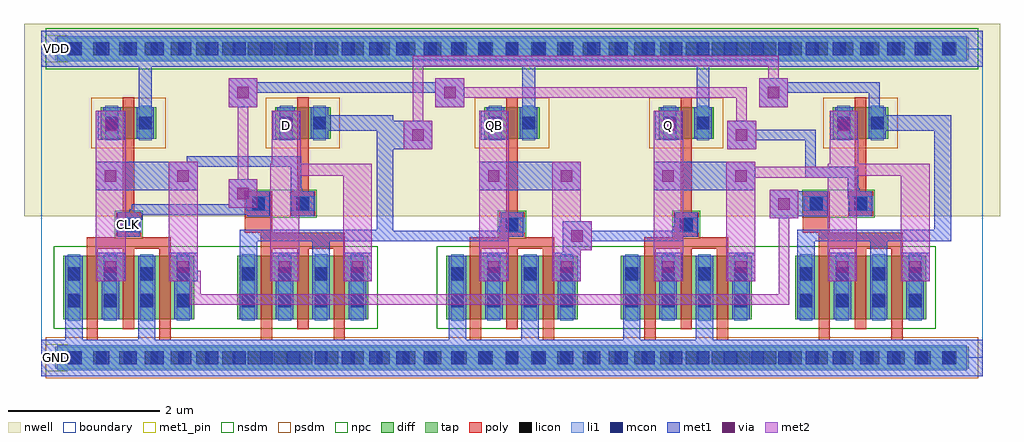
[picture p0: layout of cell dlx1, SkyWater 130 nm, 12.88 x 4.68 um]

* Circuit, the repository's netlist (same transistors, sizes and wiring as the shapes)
** sch_path: /foss/designs/dlx1.sch
.subckt dlx1 D VDD GND CLK QB Q
*.PININFO D:I VDD:B GND:B CLK:I QB:O Q:O
XM1 D CLKB net1 VDD sky130_fd_pr__pfet_01v8 L=0.15 W=0.42 nf=1
XM2 D CLK net1 GND sky130_fd_pr__nfet_01v8 L=0.15 W=2.52 nf=3
XM3 CLKB CLK VDD VDD sky130_fd_pr__pfet_01v8 L=0.15 W=0.42 nf=1
XM4 CLKB CLK GND GND sky130_fd_pr__nfet_01v8 L=0.15 W=2.52 nf=3
XM9 QB net1 VDD VDD sky130_fd_pr__pfet_01v8 L=0.15 W=0.42 nf=1
XM8 QB net1 GND GND sky130_fd_pr__nfet_01v8 L=0.15 W=2.52 nf=3
XM5 Q QB VDD VDD sky130_fd_pr__pfet_01v8 L=0.15 W=0.42 nf=1
XM6 Q QB GND GND sky130_fd_pr__nfet_01v8 L=0.15 W=2.52 nf=3
XM7 net1 CLK Q VDD sky130_fd_pr__pfet_01v8 L=0.15 W=0.42 nf=1
XM10 net1 CLKB Q GND sky130_fd_pr__nfet_01v8 L=0.15 W=2.52 nf=3
.ends

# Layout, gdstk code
import gdstk
lib = gdstk.Library(unit=1e-6, precision=1e-09)
def R(c, l, rs):  # rectangles x0, y0, x1, y1
    for r in rs: c.add(gdstk.rectangle(r[:2], r[2:], *l))
def A(c, l, x, y, w, h, nx, ny, dx, dy):  # array of equal rectangles
    R(c, l, [(x+i*dx, y+j*dy, x+i*dx+w, y+j*dy+h) for i in range(nx) for j in range(ny)])
nwell = (64, 20)
diff = (65, 20)
tap = (65, 44)
poly = (66, 20)
licon = (66, 44)
li1 = (67, 20)
mcon = (67, 44)
met1_pin = (68, 16)
met1 = (68, 20)
via = (68, 44)
met2 = (69, 20)
nsdm = (93, 44)
psdm = (94, 20)
npc = (95, 20)
boundary = (235, 4)

sky130_fd_pr__nfet_01v8_ = lib.new_cell('sky130_fd_pr__nfet_01v8_RPKUUV')
R(sky130_fd_pr__nfet_01v8_, diff, [(-0.865,-0.42,0.865,0.42)])
R(sky130_fd_pr__nfet_01v8_, poly, [(-0.555,-0.695,-0.405,0.55), (0.405,-0.695,0.555,0.55), (-0.075,-0.55,0.075,0.695)])
A(sky130_fd_pr__nfet_01v8_, licon, -0.805, -0.255, 0.17, 0.17, 4, 2, 0.48, 0.34)
A(sky130_fd_pr__nfet_01v8_, li1, -0.805, -0.44, 0.17, 0.88, 4, 1, 0.48, 0)
A(sky130_fd_pr__nfet_01v8_, mcon, -0.805, -0.265, 0.17, 0.17, 4, 2, 0.48, 0.36)
A(sky130_fd_pr__nfet_01v8_, met1, -0.835, -0.42, 0.23, 0.84, 4, 1, 0.48, 0)
R(sky130_fd_pr__nfet_01v8_, nsdm, [(-0.99,-0.545,0.99,0.545)])
sky130_fd_pr__nfet_01v8_.add(gdstk.Label('D0', (-0.72,0), layer=67, texttype=5))
sky130_fd_pr__nfet_01v8_.add(gdstk.Label('S1', (-0.24,0), layer=67, texttype=5))
sky130_fd_pr__nfet_01v8_.add(gdstk.Label('D2', (0.24,0), layer=67, texttype=5))
sky130_fd_pr__nfet_01v8_.add(gdstk.Label('S2', (0.72,0), layer=67, texttype=5))

sky130_fd_pr__pfet_01v8_ = lib.new_cell('sky130_fd_pr__pfet_01v8_YNU6YZ')
R(sky130_fd_pr__pfet_01v8_, nwell, [(-0.545,-0.52,0.545,0.52)])
R(sky130_fd_pr__pfet_01v8_, diff, [(-0.365,-0.21,0.365,0.21)])
R(sky130_fd_pr__pfet_01v8_, poly, [(-0.075,-0.34,0.075,0.34)])
R(sky130_fd_pr__pfet_01v8_, licon, [(-0.305,-0.085,-0.135,0.085), (0.135,-0.085,0.305,0.085)])
R(sky130_fd_pr__pfet_01v8_, li1, [(-0.305,-0.23,-0.135,0.23), (0.135,-0.23,0.305,0.23)])
R(sky130_fd_pr__pfet_01v8_, mcon, [(-0.305,-0.085,-0.135,0.085), (0.135,-0.085,0.305,0.085)])
R(sky130_fd_pr__pfet_01v8_, met1, [(-0.335,-0.21,-0.105,0.21), (0.105,-0.21,0.335,0.21)])
R(sky130_fd_pr__pfet_01v8_, psdm, [(-0.49,-0.335,0.49,0.335)])
sky130_fd_pr__pfet_01v8_.add(gdstk.Label('D', (-0.22,0), layer=67, texttype=5))
sky130_fd_pr__pfet_01v8_.add(gdstk.Label('S', (0.22,0), layer=67, texttype=5))

dlx1 = lib.new_cell('dlx1')
R(dlx1, nwell, [(-0.23,1.87,12.65,4.41)])
R(dlx1, tap, [(0.18,-0.145,12.24,0.145), (0.18,3.935,12.24,4.225)])
R(dlx1, poly, [(0.595,1.44,1.705,1.59), (2.895,1.44,4.005,1.65), (5.655,1.44,6.765,1.59), (7.955,1.44,9.065,1.59), (10.255,1.44,11.365,1.65), (0.985,1.59,1.315,1.92), (6.045,1.59,6.375,1.92), (8.345,1.59,8.675,1.92), (2.685,1.65,3.045,2.2), (10.045,1.65,10.405,2.2), (3.285,1.87,3.615,2.2), (10.645,1.87,10.975,2.2), (1.075,1.92,1.225,2.95), (6.135,1.92,6.285,2.95), (8.435,1.92,8.585,2.95), (3.375,2.2,3.525,2.95), (10.735,2.2,10.885,2.95)])
A(dlx1, licon, 0.345, -0.085, 0.17, 0.17, 35, 2, 0.34, 4.08)
R(dlx1, licon, [(1.065,1.67,1.235,1.84), (6.125,1.67,6.295,1.84), (8.425,1.67,8.595,1.84), (2.78,1.95,2.95,2.12), (3.365,1.95,3.535,2.12), (10.14,1.95,10.31,2.12), (10.725,1.95,10.895,2.12)])
R(dlx1, li1, [(0.21,-0.165,12.21,0.165), (0.985,1.66,1.315,1.85), (6.045,1.66,6.375,1.85), (8.345,1.66,8.675,1.85), (2.7,1.94,3.03,2.13), (3.285,1.94,3.615,2.13), (10.06,1.94,10.39,2.13), (10.645,1.94,10.975,2.13), (0.21,3.915,12.21,4.245)])
A(dlx1, mcon, 0.365, -0.085, 0.17, 0.17, 33, 2, 0.36, 4.08)
R(dlx1, mcon, [(1.065,1.67,1.235,1.84), (6.125,1.67,6.295,1.84), (8.425,1.67,8.595,1.84), (2.78,1.95,2.95,2.12), (3.365,1.95,3.535,2.12), (10.14,1.95,10.31,2.12), (10.725,1.95,10.895,2.12)])
R(dlx1, met1_pin, [(0.05,-0.18,0.35,0.18), (1,1.6,1.3,1.92), (3.05,2.88,3.41,3.26), (5.8,2.88,6.16,3.26), (8.1,2.88,8.46,3.26), (0.05,3.9,0.35,4.26)])
R(dlx1, met1, [(0,-0.24,12.42,0.24), (0.315,0.24,0.545,0.6), (1.275,0.24,1.505,0.6), (5.375,0.24,5.605,0.6), (6.335,0.24,6.565,0.6), (7.675,0.24,7.905,0.6), (8.635,0.24,8.865,0.6), (0.72,1.01,1.1,1.39), (1.68,1.01,2.06,1.39), (3.02,1.01,3.4,1.39), (3.98,1.01,4.36,1.39), (5.78,1.01,6.16,1.39), (6.74,1.01,7.12,1.39), (8.08,1.01,8.46,1.39), (9.04,1.01,9.42,1.39), (10.38,1.01,10.76,1.39), (11.34,1.01,11.72,1.39), (2.615,1.25,2.845,1.54), (3.575,1.25,3.805,1.54), (9.975,1.25,10.205,1.54), (10.935,1.25,11.165,1.54), (6.88,1.39,7.12,1.42), (6.88,1.42,7.26,1.54), (2.615,1.54,6.16,1.6), (6.88,1.54,8.47,1.6), (9.975,1.54,12.005,1.69), (1,1.6,1.3,1.82), (2.615,1.6,6.36,1.68), (6.88,1.6,8.66,1.68), (2.615,1.68,4.645,1.69), (6.02,1.68,6.36,1.74), (6.88,1.68,7.26,1.8), (8.33,1.68,8.66,1.74), (4.425,1.69,4.645,2.75), (11.785,1.69,12.005,3), (6.06,1.74,6.36,1.92), (8.36,1.74,8.66,1.92), (1,1.82,1.33,1.89), (9.61,1.84,9.99,1.87), (2.715,1.87,3.015,1.89), (3.3,1.87,3.6,2.1), (9.61,1.87,10.375,2.2), (10.66,1.87,10.96,2.1), (1,1.89,3.015,1.92), (1.16,1.92,3.015,1.96), (1.19,1.96,3.015,2.03), (2.47,2.03,3.015,2.2), (3.29,2.1,3.6,2.2), (10.64,2.1,10.96,2.2), (2.47,2.2,2.85,2.36), (3.29,2.2,3.44,2.24), (9.61,2.2,9.99,2.22), (10.64,2.2,10.8,2.24), (0.72,2.21,2.06,2.52), (5.78,2.21,7.12,2.59), (8.08,2.21,9.42,2.59), (3.29,2.24,3.43,2.52), (10.64,2.24,10.78,2.38), (10.08,2.38,10.78,2.52), (0.72,2.52,3.43,2.59), (10.08,2.52,10.22,2.87), (1.92,2.59,3.43,2.66), (4.425,2.75,5.16,3), (9.05,2.75,9.43,2.87), (9.05,2.87,10.22,3.01), (0.74,2.88,1.1,3.26), (3.05,2.88,3.41,3.26), (5.8,2.88,6.16,3.26), (8.1,2.88,8.46,3.26), (10.41,2.88,10.77,3.26), (3.555,3,5.16,3.13), (10.915,3,12.005,3.2), (9.05,3.01,9.43,3.13), (3.555,3.13,4.645,3.2), (10.92,3.22,11.06,3.5), (1.285,3.25,1.455,3.84), (6.345,3.25,6.515,3.84), (8.645,3.25,8.815,3.84), (2.47,3.31,2.85,3.5), (5.2,3.31,5.58,3.5), (9.47,3.31,9.85,3.5), (2.47,3.5,5.58,3.64), (9.47,3.5,11.06,3.64), (2.47,3.64,2.85,3.69), (5.2,3.64,5.58,3.69), (9.47,3.64,9.85,3.69), (0,3.84,12.42,4.32)])
R(dlx1, via, [(0.835,1.125,0.985,1.275), (1.795,1.125,1.945,1.275), (3.135,1.125,3.285,1.275), (4.095,1.125,4.245,1.275), (5.895,1.125,6.045,1.275), (6.855,1.125,7.005,1.275), (8.195,1.125,8.345,1.275), (9.155,1.125,9.305,1.275), (10.495,1.125,10.645,1.275), (11.455,1.125,11.605,1.275), (6.995,1.535,7.145,1.685), (9.725,1.955,9.875,2.105), (2.585,2.095,2.735,2.245), (0.835,2.325,0.985,2.475), (1.795,2.325,1.945,2.475), (5.895,2.325,6.045,2.475), (6.855,2.325,7.005,2.475), (8.195,2.325,8.345,2.475), (9.155,2.325,9.305,2.475), (4.895,2.865,5.045,3.015), (9.165,2.865,9.315,3.015), (0.845,2.995,0.995,3.145), (3.155,2.995,3.305,3.145), (5.905,2.995,6.055,3.145), (8.205,2.995,8.355,3.145), (10.515,2.995,10.665,3.145), (2.585,3.425,2.735,3.575), (5.315,3.425,5.465,3.575), (9.585,3.425,9.735,3.575)])
R(dlx1, met2, [(1.96,0.7,9.87,0.84), (1.96,0.84,2.1,1.01), (9.73,0.84,9.87,1.84), (0.72,1.01,1.11,3.26), (1.68,1.01,2.1,1.15), (3.02,1.01,3.4,2.4), (3.98,1.01,4.36,2.4), (5.78,1.01,6.17,3.26), (6.74,1.01,7.12,1.42), (8.08,1.01,8.47,3.26), (9.04,1.01,9.42,2.38), (10.38,1.01,10.76,2.38), (11.34,1.01,11.72,2.4), (1.68,1.15,2.06,2.59), (6.74,1.42,7.26,1.8), (6.74,1.8,7.12,2.59), (9.61,1.84,9.99,2.22), (2.47,1.98,2.85,2.36), (2.59,2.36,2.73,3.31), (9.04,2.38,10.76,2.4), (3.02,2.4,4.36,2.56), (9.04,2.4,11.72,2.52), (9.04,2.52,9.42,2.59), (10.38,2.52,11.72,2.56), (3.04,2.56,3.42,3.26), (10.4,2.56,10.78,3.26), (4.78,2.75,5.16,3.13), (9.05,2.75,9.43,3.13), (4.9,3.13,5.04,3.85), (9.17,3.13,9.31,3.43), (2.47,3.31,2.85,3.69), (5.2,3.31,5.58,3.43), (9.47,3.31,9.85,3.69), (5.2,3.43,9.31,3.57), (5.2,3.57,5.58,3.69), (9.59,3.69,9.73,3.85), (4.9,3.85,9.73,3.99)])
R(dlx1, nsdm, [(2.14,0.385,2.46,1.475), (7.2,0.385,7.52,1.475), (9.5,0.385,9.82,1.475), (0.055,3.81,12.365,4.35)])
R(dlx1, psdm, [(0.055,-0.27,12.365,0.27)])
R(dlx1, npc, [(0.965,1.57,1.335,1.94), (6.025,1.57,6.395,1.94), (8.325,1.57,8.695,1.94), (2.68,1.85,3.635,2.22), (10.04,1.85,10.995,2.22)])
R(dlx1, boundary, [(0,0,12.42,4.08)])
dlx1.add(gdstk.Reference(sky130_fd_pr__nfet_01v8_, (1.15,0.93)))
dlx1.add(gdstk.Reference(sky130_fd_pr__pfet_01v8_, (1.15,3.1)))
dlx1.add(gdstk.Reference(sky130_fd_pr__nfet_01v8_, (3.45,0.93)))
dlx1.add(gdstk.Reference(sky130_fd_pr__pfet_01v8_, (3.45,3.1)))
dlx1.add(gdstk.Reference(sky130_fd_pr__nfet_01v8_, (6.21,0.93)))
dlx1.add(gdstk.Reference(sky130_fd_pr__pfet_01v8_, (6.21,3.1)))
dlx1.add(gdstk.Reference(sky130_fd_pr__nfet_01v8_, (8.51,0.93)))
dlx1.add(gdstk.Reference(sky130_fd_pr__pfet_01v8_, (8.51,3.1)))
dlx1.add(gdstk.Reference(sky130_fd_pr__nfet_01v8_, (10.81,0.93)))
dlx1.add(gdstk.Reference(sky130_fd_pr__pfet_01v8_, (10.81,3.1)))
dlx1.add(gdstk.Label('CLK', (1.15,1.76), layer=68, texttype=5))
dlx1.add(gdstk.Label('D', (3.23,3.07), layer=68, texttype=5))
dlx1.add(gdstk.Label('QB', (5.98,3.07), layer=68, texttype=5))
dlx1.add(gdstk.Label('Q', (8.28,3.07), layer=68, texttype=5))
dlx1.add(gdstk.Label('VDD', (0.2,4.08), layer=68, texttype=5))
dlx1.add(gdstk.Label('GND', (0.2,0), layer=68, texttype=5))

lib.write_gds('dlx1.gds')
